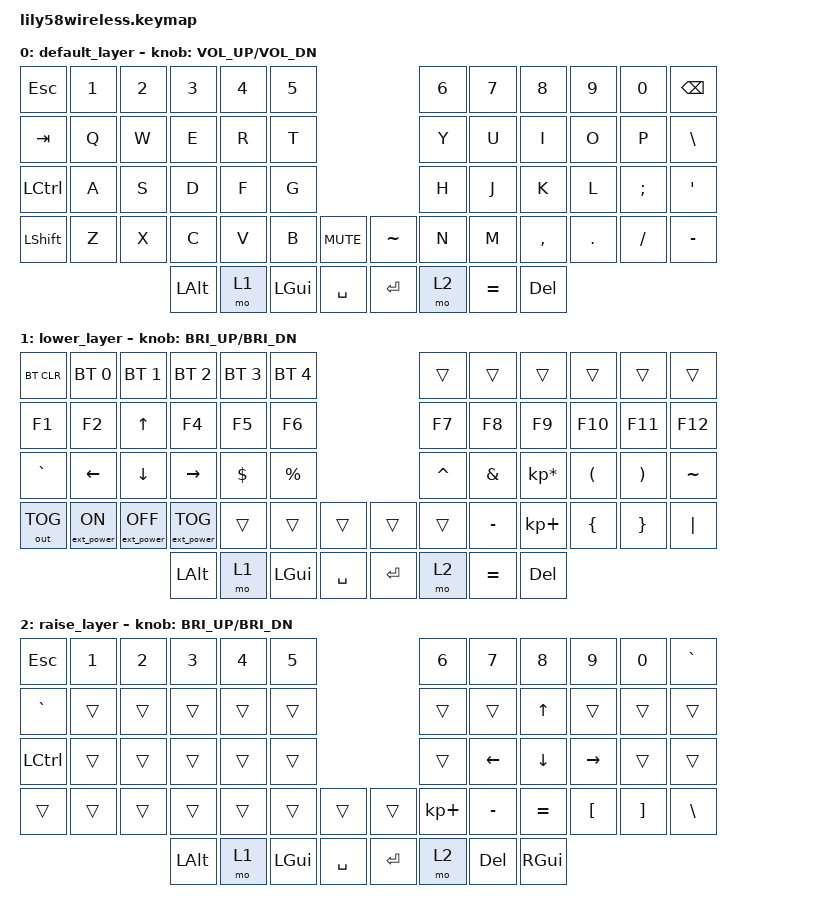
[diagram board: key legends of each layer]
/*
 * Copyright (c) 2020 The ZMK Contributors
 *
 * SPDX-License-Identifier: MIT
 */

#include <behaviors.dtsi>
#include <dt-bindings/zmk/keys.h>
#include <dt-bindings/zmk/bt.h>
#include <dt-bindings/zmk/ext_power.h>
#include <dt-bindings/zmk/outputs.h>

/*
 * Temporarily here because nice nano v2 spi is not defined in ZMK yet
 * Source: https://github.com/zmkfirmware/zmk/blob/main/app/boards/shields/reviung41/boards/nice_nano.overlay
 * GitHub Issue: https://github.com/zmkfirmware/zmk/issues/885
 */

&spi1 {
  compatible = "nordic,nrf-spim";
  status = "okay";
  mosi-pin = <6>;
  // Unused pins, needed for SPI definition, but not used by the ws2812 driver itself.
  sck-pin = <5>;
  miso-pin = <7>;

  led_strip: ws2812@0 {
    compatible = "worldsemi,ws2812-spi";
    label = "WS2812";

    /* SPI */
    reg = <0>; /* ignored, but necessary for SPI bindings */
    spi-max-frequency = <4000000>;

    /* WS2812 */
    chain-length = <10>; /* number of LEDs, will need to increase in V2 for underglow */
    spi-one-frame = <0x70>;
    spi-zero-frame = <0x40>;
    color-mapping = <LED_COLOR_ID_GREEN
                          LED_COLOR_ID_RED
                          LED_COLOR_ID_BLUE>;
  };
};
/ {
	chosen {
		zmk,underglow = &led_strip;
	};
};


/ {
	keymap {
		compatible = "zmk,keymap";

		default_layer {
// ------------------------------------------------------------------------------------------------------------
// |  ESC  |  1  |  2  |  3   |  4   |  5   |                   |  6   |  7    |  8    |  9   |   0   |  BSPC |
// |  TAB  |  Q  |  W  |  E   |  R   |  T   |                   |  Y   |  U    |  I    |  O   |   P   |   \   |
// | CTRL  |  A  |  S  |  D   |  F   |  G   |                   |  H   |  J    |  K    |  L   |   ;   |   '   |
// | SHIFT |  Z  |  X  |  C   |  V   |  B   |  Mute  |  |  ~  |  N   |  M    |  ,    |  .   |   /   |   -     |
//                     | ALT  | LWR  | LGUI |  SPACE |  | ENTER | RAISE| =   | DEL   |
			bindings = <
&kp ESC   &kp N1 &kp N2 &kp N3   &kp N4   &kp N5                     &kp N6 &kp N7   &kp N8    &kp N9  &kp N0   &kp BSPC
&kp TAB   &kp Q  &kp W  &kp E    &kp R    &kp T                      &kp Y  &kp U    &kp I     &kp O   &kp P    &kp BSLH
&kp LCTRL &kp A  &kp S  &kp D    &kp F    &kp G                      &kp H  &kp J    &kp K     &kp L   &kp SEMI &kp APOS
&kp LSHIFT &kp Z  &kp X  &kp C   &kp V    &kp B  &kp C_MUTE &kp TILDE &kp N  &kp M    &kp COMMA &kp DOT &kp FSLH &kp MINUS
                        &kp LALT &mo 1 &kp LGUI  &kp SPACE  &kp RET  &mo 2  &kp EQUAL &kp DEL
			>;

			sensor-bindings = <&inc_dec_kp C_VOL_UP C_VOL_DN>;
		};

		lower_layer {
// ------------------------------------------------------------------------------------------------------------
// | BTCLR | BT1 | BT2 |  BT3 |  BT4 |  BT5 |                   |      |       |       |      |       |       |
// |  F1   |  F2 |  ^  |  F4  |  F5  |  F6  |                   |  F7  |  F8   |  F9   |  F10 |  F11  |  F12  |
// |   `   |  <  |  dw |   >  |  $   |  %   |                   |  ^   |  &    |  *    |  (   |   )   |   Å   |
// |OUTTOG |     |     |      |      |      |        |  |       |      |  _    |  +    |  {   |   }   |  "|"  |
//                     |      |      |      |        |  |       |      |       |       |
			bindings = <
&bt BT_CLR &bt BT_SEL 0     &bt BT_SEL 1      &bt BT_SEL 2      &bt BT_SEL 3 &bt BT_SEL 4                 &trans    &trans    &trans         &trans    &trans    &trans
&kp F1     &kp F2           &kp UP            &kp F4            &kp F5       &kp F6                       &kp F7    &kp F8    &kp F9          &kp F10   &kp F11   &kp F12
&kp GRAVE  &kp LEFT         &kp DOWN            &kp RIGHT          &kp DOLLAR   &kp PRCNT                    &kp CARET &kp AMPS  &kp KP_MULTIPLY &kp LPAR  &kp RPAR  &kp TILDE
&out OUT_TOG    &ext_power EP_ON &ext_power EP_OFF &ext_power EP_TOG &trans &trans      &trans    &trans  &trans    &kp MINUS &kp KP_PLUS    &kp LBRC  &kp RBRC  &kp PIPE
                        &kp LALT &mo 1  &kp LGUI &kp SPACE  &kp RET  &mo 2  &kp EQUAL &kp DEL 
			>;

			sensor-bindings = <&inc_dec_kp C_BRI_UP C_BRI_DN>;
		};

		raise_layer {
// ------------------------------------------------------------------------------------------------------------
// |  ESC  |  1  |  2  |  3   |  4   |  5   |                   |  6   |  7    |  8    |  9   |   0   |   `   |
// |   `   |     |     |      |      |      |                   |      |       |   ^   |      |       |       |
// | LCTRL |     |     |      |      |      |                   |      |   <-  |   v   | ->   |       |       |
// |       |     |     |      |      |      |        |  |       |  +   |   -   |   =   |  [   |   ]   |   \   |
//                     | ALT  | LGUI | LOWER|  SPACE |  | ENTER | RAISE| DEL   | GUI   |
			bindings = <
&kp ESC   &kp N1 &kp N2 &kp N3   &kp N4   &kp N5                     &kp N6 &kp N7   &kp N8    &kp N9  &kp N0   &kp GRAVE
&kp GRAVE &trans &trans &trans  &trans  &trans                       &trans      &trans    &kp UP    &trans   &trans    &trans
&kp LCTRL &trans &trans &trans  &trans   &trans                       &trans      &kp LEFT  &kp DOWN  &kp RIGHT   &trans &trans
&trans    &trans &trans &trans  &trans  &trans    &trans   &trans    &kp KP_PLUS &kp MINUS &kp EQUAL &kp LBKT &kp RBKT  &kp BSLH
                        &kp LALT &mo 1 &kp LGUI  &kp SPACE  &kp RET  &mo 2  &kp DEL &kp RGUI
			>;

			sensor-bindings = <&inc_dec_kp C_BRI_UP C_BRI_DN>;
		};
	};
};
